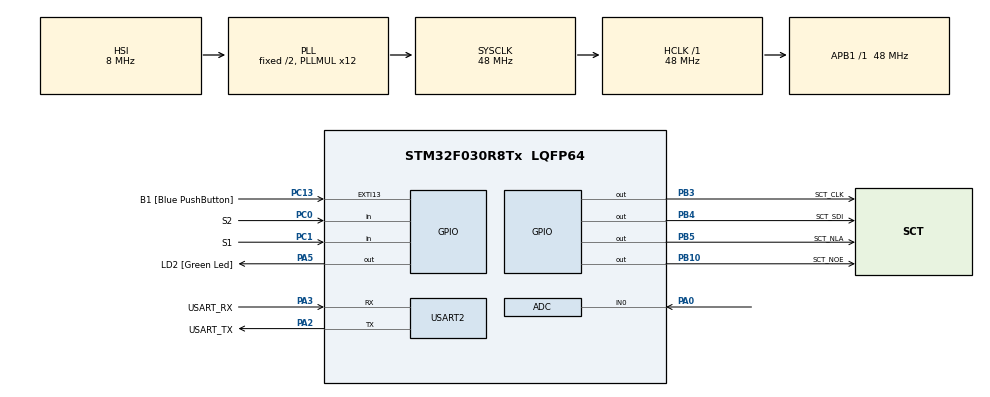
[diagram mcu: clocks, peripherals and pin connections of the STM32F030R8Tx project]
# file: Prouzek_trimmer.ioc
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ADC.ContinuousConvMode=ENABLE
ADC.Overrun=ADC_OVR_DATA_OVERWRITTEN
ADC.SamplingTime=ADC_SAMPLETIME_239CYCLES_5
Mcu.Family=STM32F0
Mcu.Name=STM32F030R8Tx
Mcu.Package=LQFP64
NVIC.ADC1_IRQn=true\:0\:0\:false\:false\:true\:true\:true\:true
PA0.Mode=IN0
PA0.Signal=ADC_IN0
PA13.GPIO_Label=TMS
PA13.Mode=Serial_Wire
PA13.Signal=SYS_SWDIO
PA14.GPIO_Label=TCK
PA14.Mode=Serial_Wire
PA14.Signal=SYS_SWCLK
PA2.GPIO_Label=USART_TX
PA2.GPIO_Mode=GPIO_MODE_AF_PP
PA2.GPIO_PuPd=GPIO_NOPULL
PA2.GPIO_Speed=GPIO_SPEED_FREQ_LOW
PA2.Mode=Asynchronous
PA2.Signal=USART2_TX
PA3.GPIO_Label=USART_RX
PA3.GPIO_Mode=GPIO_MODE_AF_PP
PA3.GPIO_PuPd=GPIO_NOPULL
PA3.GPIO_Speed=GPIO_SPEED_FREQ_LOW
PA3.Mode=Asynchronous
PA3.Signal=USART2_RX
PA5.GPIO_Label=LD2 [Green Led]
PA5.GPIO_Mode=GPIO_MODE_OUTPUT_PP
PA5.GPIO_PuPd=GPIO_NOPULL
PA5.GPIO_Speed=GPIO_SPEED_FREQ_LOW
PA5.Signal=GPIO_Output
PB10.GPIO_Label=SCT_NOE
PB10.Signal=GPIO_Output
PB3.GPIO_Label=SCT_CLK
PB3.Signal=GPIO_Output
PB4.GPIO_Label=SCT_SDI
PB4.Signal=GPIO_Output
PB5.GPIO_Label=SCT_NLA
PB5.Signal=GPIO_Output
PC0.GPIO_Label=S2
PC0.GPIO_PuPd=GPIO_PULLUP
PC0.Signal=GPIO_Input
PC1.GPIO_Label=S1
PC1.GPIO_PuPd=GPIO_PULLUP
PC1.Signal=GPIO_Input
PC13.GPIO_Label=B1 [Blue PushButton]
PC13.GPIO_ModeDefaultEXTI=GPIO_MODE_IT_FALLING
PC13.Signal=GPXTI13
PC14-OSC32_IN.Mode=LSE-External-Oscillator
PC14-OSC32_IN.Signal=RCC_OSC32_IN
PC15-OSC32_OUT.Mode=LSE-External-Oscillator
PC15-OSC32_OUT.Signal=RCC_OSC32_OUT
PF0-OSC_IN.Mode=HSE-External-Clock-Source
PF0-OSC_IN.Signal=RCC_OSC_IN
PF1-OSC_OUT.Signal=RCC_OSC_OUT
ProjectManager.HeapSize=0x200
ProjectManager.StackSize=0x400
ProjectManager.TargetToolchain=STM32CubeIDE
RCC.AHBFreq_Value=48000000
RCC.APB1Freq_Value=48000000
RCC.APB1TimFreq_Value=48000000
RCC.HCLKFreq_Value=48000000
RCC.PLLMUL=RCC_PLL_MUL12
RCC.SYSCLKFreq_VALUE=48000000
RCC.SYSCLKSource=RCC_SYSCLKSOURCE_PLLCLK
USART2.VirtualMode-Asynchronous=VM_ASYNC
board=NUCLEO-F030R8

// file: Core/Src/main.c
/* USER CODE BEGIN Header */
/**
 ******************************************************************************
 * @file           : main.c
 * @brief          : Main program body
 ******************************************************************************
 * @attention
 *
 * Copyright (c) 2024 STMicroelectronics.
 * All rights reserved.
 *
 * This software is licensed under terms that can be found in the LICENSE file
 * in the root directory of this software component.
 * If no LICENSE file comes with this software, it is provided AS-IS.
 *
 ******************************************************************************
 */
/* USER CODE END Header */
#include "main.h"

/* USER CODE BEGIN Includes */
#include "sct.h"
/* USER CODE END Includes */

ADC_HandleTypeDef hadc;

UART_HandleTypeDef huart2;

void SystemClock_Config(void);
static void MX_GPIO_Init(void);
static void MX_USART2_UART_Init(void);
static void MX_ADC_Init(void);

/* USER CODE BEGIN 0 */
//KOD PRO TRIMMER
static volatile uint32_t raw_pot;
uint32_t speed;

void HAL_ADC_ConvCpltCallback(ADC_HandleTypeDef *hadc) {
	raw_pot = HAL_ADC_GetValue(hadc); //add actual new value
	float control = 500 - (raw_pot * 480 / 4096); //protože mám 32 bitovou proměnou tak 2^32=4096; 500 je maximální hodnota a 20 minimální(tzn 500-20=480)
	speed = (uint32_t) control;	//zaokrouhluje tu vy�?tenou hodnotu z předchozího řádku a nahraje se to do proměné speed
}
/* USER CODE END 0 */

int main(void)
{

  /* MCU Configuration--------------------------------------------------------*/

  /* Reset of all peripherals, Initializes the Flash interface and the Systick. */
  HAL_Init();

  /* Configure the system clock */
  SystemClock_Config();

  /* Initialize all configured peripherals */
  MX_GPIO_Init();
  MX_USART2_UART_Init();
  MX_ADC_Init();
  /* USER CODE BEGIN 2 */
	sct_init();

	//tyto dva jsou pro kalibraci trimmeru
	HAL_ADCEx_Calibration_Start(&hadc);
	HAL_ADC_Start_IT(&hadc);

	//uint32_t delay = 1000;

  /* USER CODE END 2 */

  /* Infinite loop */
  /* USER CODE BEGIN WHILE */
	while (1) {
		static uint32_t time;
		//sct_value(10); //když něco napíšu sem tak se mi to zobrazí na displeji

		if (HAL_GPIO_ReadPin(S1_GPIO_Port, S1_Pin) == 0) {//START po stisknutí tla�?ítka S1
			time = HAL_GetTick();
			for (int i = 0; i < 9;) {//cyklus pro cyklovaní přes po�?et segmentu
				sct_value(i);
				//HAL_Delay(speed);

				if (HAL_GPIO_ReadPin(S2_GPIO_Port, S2_Pin) == 0) {//STOP po stisknutí tla�?ítka S2
					i = 0;
					sct_value(i);
					HAL_Delay(200);

				}

				if (HAL_GetTick()>time+speed){
				time = HAL_GetTick();
				i++;	//inkrementace "i"
				}
				if (i == 9) {				//podmínka pro reset celého cyklu
					i = 0;
				}
			}
		}
		sct_value(0);

    /* USER CODE END WHILE */

	}
}

void SystemClock_Config(void)
{
  RCC_OscInitTypeDef RCC_OscInitStruct = {0};
  RCC_ClkInitTypeDef RCC_ClkInitStruct = {0};

  /** Initializes the RCC Oscillators according to the specified parameters
  * in the RCC_OscInitTypeDef structure.
  */
  RCC_OscInitStruct.OscillatorType = RCC_OSCILLATORTYPE_HSI|RCC_OSCILLATORTYPE_HSI14;
  RCC_OscInitStruct.HSIState = RCC_HSI_ON;
  RCC_OscInitStruct.HSI14State = RCC_HSI14_ON;
  RCC_OscInitStruct.HSICalibrationValue = RCC_HSICALIBRATION_DEFAULT;
  RCC_OscInitStruct.HSI14CalibrationValue = 16;
  RCC_OscInitStruct.PLL.PLLState = RCC_PLL_ON;
  RCC_OscInitStruct.PLL.PLLSource = RCC_PLLSOURCE_HSI;
  RCC_OscInitStruct.PLL.PLLMUL = RCC_PLL_MUL12;
  RCC_OscInitStruct.PLL.PREDIV = RCC_PREDIV_DIV1;
  if (HAL_RCC_OscConfig(&RCC_OscInitStruct) != HAL_OK)
  {
    Error_Handler();
  }

  /** Initializes the CPU, AHB and APB buses clocks
  */
  RCC_ClkInitStruct.ClockType = RCC_CLOCKTYPE_HCLK|RCC_CLOCKTYPE_SYSCLK
                              |RCC_CLOCKTYPE_PCLK1;
  RCC_ClkInitStruct.SYSCLKSource = RCC_SYSCLKSOURCE_PLLCLK;
  RCC_ClkInitStruct.AHBCLKDivider = RCC_SYSCLK_DIV1;
  RCC_ClkInitStruct.APB1CLKDivider = RCC_HCLK_DIV1;

  if (HAL_RCC_ClockConfig(&RCC_ClkInitStruct, FLASH_LATENCY_1) != HAL_OK)
  {
    Error_Handler();
  }
}

static void MX_ADC_Init(void)
{

  ADC_ChannelConfTypeDef sConfig = {0};

  /** Configure the global features of the ADC (Clock, Resolution, Data Alignment and number of conversion)
  */
  hadc.Instance = ADC1;
  hadc.Init.ClockPrescaler = ADC_CLOCK_ASYNC_DIV1;
  hadc.Init.Resolution = ADC_RESOLUTION_12B;
  hadc.Init.DataAlign = ADC_DATAALIGN_RIGHT;
  hadc.Init.ScanConvMode = ADC_SCAN_DIRECTION_FORWARD;
  hadc.Init.EOCSelection = ADC_EOC_SINGLE_CONV;
  hadc.Init.LowPowerAutoWait = DISABLE;
  hadc.Init.LowPowerAutoPowerOff = DISABLE;
  hadc.Init.ContinuousConvMode = ENABLE;
  hadc.Init.DiscontinuousConvMode = DISABLE;
  hadc.Init.ExternalTrigConv = ADC_SOFTWARE_START;
  hadc.Init.ExternalTrigConvEdge = ADC_EXTERNALTRIGCONVEDGE_NONE;
  hadc.Init.DMAContinuousRequests = DISABLE;
  hadc.Init.Overrun = ADC_OVR_DATA_OVERWRITTEN;
  if (HAL_ADC_Init(&hadc) != HAL_OK)
  {
    Error_Handler();
  }

  /** Configure for the selected ADC regular channel to be converted.
  */
  sConfig.Channel = ADC_CHANNEL_0;
  sConfig.Rank = ADC_RANK_CHANNEL_NUMBER;
  sConfig.SamplingTime = ADC_SAMPLETIME_239CYCLES_5;
  if (HAL_ADC_ConfigChannel(&hadc, &sConfig) != HAL_OK)
  {
    Error_Handler();
  }

}

static void MX_USART2_UART_Init(void)
{

  huart2.Instance = USART2;
  huart2.Init.BaudRate = 38400;
  huart2.Init.WordLength = UART_WORDLENGTH_8B;
  huart2.Init.StopBits = UART_STOPBITS_1;
  huart2.Init.Parity = UART_PARITY_NONE;
  huart2.Init.Mode = UART_MODE_TX_RX;
  huart2.Init.HwFlowCtl = UART_HWCONTROL_NONE;
  huart2.Init.OverSampling = UART_OVERSAMPLING_16;
  huart2.Init.OneBitSampling = UART_ONE_BIT_SAMPLE_DISABLE;
  huart2.AdvancedInit.AdvFeatureInit = UART_ADVFEATURE_NO_INIT;
  if (HAL_UART_Init(&huart2) != HAL_OK)
  {
    Error_Handler();
  }

}

static void MX_GPIO_Init(void)
{
  GPIO_InitTypeDef GPIO_InitStruct = {0};

  /* GPIO Ports Clock Enable */
  __HAL_RCC_GPIOC_CLK_ENABLE();
  __HAL_RCC_GPIOF_CLK_ENABLE();
  __HAL_RCC_GPIOA_CLK_ENABLE();
  __HAL_RCC_GPIOB_CLK_ENABLE();

  /*Configure GPIO pin Output Level */
  HAL_GPIO_WritePin(LD2_GPIO_Port, LD2_Pin, GPIO_PIN_RESET);

  /*Configure GPIO pin Output Level */
  HAL_GPIO_WritePin(GPIOB, SCT_NOE_Pin|SCT_CLK_Pin|SCT_SDI_Pin|SCT_NLA_Pin, GPIO_PIN_RESET);

  /*Configure GPIO pin : B1_Pin */
  GPIO_InitStruct.Pin = B1_Pin;
  GPIO_InitStruct.Mode = GPIO_MODE_IT_FALLING;
  GPIO_InitStruct.Pull = GPIO_NOPULL;
  HAL_GPIO_Init(B1_GPIO_Port, &GPIO_InitStruct);

  /*Configure GPIO pins : S2_Pin S1_Pin */
  GPIO_InitStruct.Pin = S2_Pin|S1_Pin;
  GPIO_InitStruct.Mode = GPIO_MODE_INPUT;
  GPIO_InitStruct.Pull = GPIO_PULLUP;
  HAL_GPIO_Init(GPIOC, &GPIO_InitStruct);

  /*Configure GPIO pin : LD2_Pin */
  GPIO_InitStruct.Pin = LD2_Pin;
  GPIO_InitStruct.Mode = GPIO_MODE_OUTPUT_PP;
  GPIO_InitStruct.Pull = GPIO_NOPULL;
  GPIO_InitStruct.Speed = GPIO_SPEED_FREQ_LOW;
  HAL_GPIO_Init(LD2_GPIO_Port, &GPIO_InitStruct);

  /*Configure GPIO pins : SCT_NOE_Pin SCT_CLK_Pin SCT_SDI_Pin SCT_NLA_Pin */
  GPIO_InitStruct.Pin = SCT_NOE_Pin|SCT_CLK_Pin|SCT_SDI_Pin|SCT_NLA_Pin;
  GPIO_InitStruct.Mode = GPIO_MODE_OUTPUT_PP;
  GPIO_InitStruct.Pull = GPIO_NOPULL;
  GPIO_InitStruct.Speed = GPIO_SPEED_FREQ_LOW;
  HAL_GPIO_Init(GPIOB, &GPIO_InitStruct);

}

void Error_Handler(void)
{
	__disable_irq();
	while (1) {
	}
}
